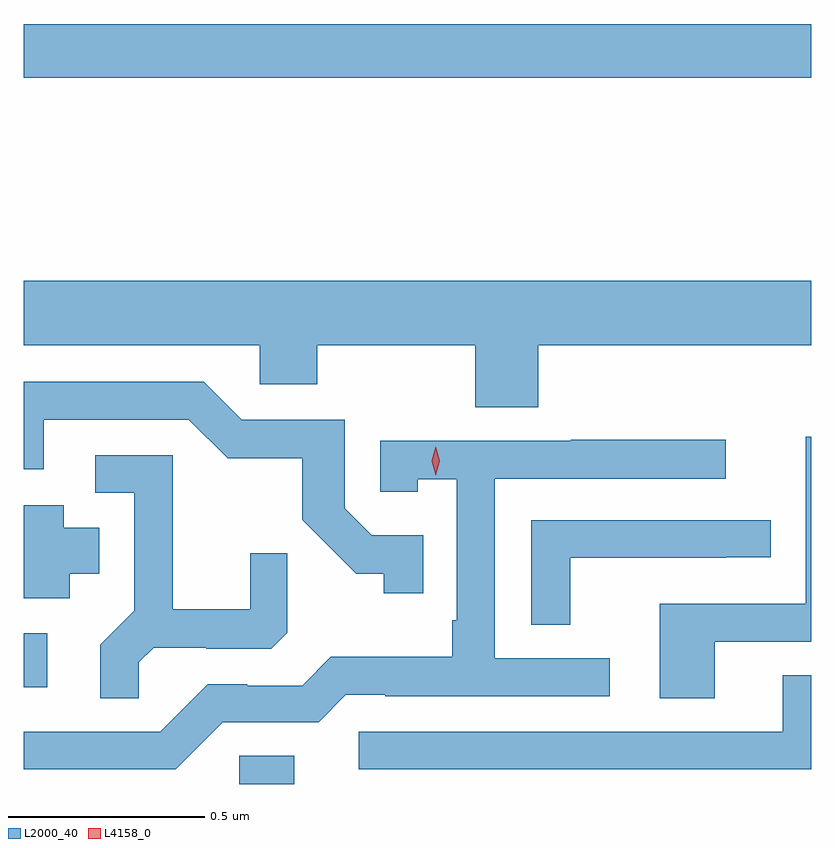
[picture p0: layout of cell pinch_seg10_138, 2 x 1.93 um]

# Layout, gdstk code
import gdstk
lib = gdstk.Library(unit=1e-6, precision=1e-09)
def R(c, l, rs):  # rectangles x0, y0, x1, y1
    for r in rs: c.add(gdstk.rectangle(r[:2], r[2:], *l))
def P(c, l, *ps):  # polygons
    for p in ps: c.add(gdstk.Polygon(p, *l))
L2000_40 = (2000, 40)
L4158_0 = (4158, 0)

pinch_seg10_138 = lib.new_cell('pinch_seg10_138')
R(pinch_seg10_138, L2000_40, [(706.968,1273.895,707.107,1273.967), (706.42,1274.141,706.48,1274.277), (706.42,1275.688,708.42,1275.824)])
P(pinch_seg10_138, L2000_40, [(706.42,1275.008),(707.019,1275.008),(707.019,1274.91),(707.166,1274.91),(707.166,1275.008),(707.566,1275.008),(707.566,1274.851),(707.726,1274.851),(707.726,1275.008),(708.42,1275.008),(708.42,1275.172),(706.42,1275.172)],
  [(707.435,1274.526),(707.304,1274.526),(707.235,1274.595),(707.235,1274.82),(706.974,1274.82),(706.878,1274.916),(706.42,1274.916),(706.42,1274.694),(706.471,1274.694),(706.471,1274.82),(706.839,1274.82),(706.938,1274.722),(707.127,1274.722),(707.127,1274.566),(707.264,1274.429),(707.334,1274.429),(707.334,1274.379),(707.435,1274.379)],
  [(708.175,1274.256),(708.42,1274.256),(708.42,1274.776),(708.405,1274.776),(708.405,1274.352),(708.035,1274.352),(708.035,1274.113),(708.175,1274.113)],
  [(706.926,1274.052),(707.169,1274.052),(707.238,1274.121),(707.338,1274.121),(707.338,1274.118),(707.908,1274.118),(707.908,1274.214),(707.616,1274.214),(707.616,1274.67),(708.202,1274.67),(708.202,1274.769),(707.809,1274.769),(707.809,1274.766),(707.325,1274.766),(707.325,1274.637),(707.421,1274.637),(707.421,1274.669),(707.52,1274.669),(707.52,1274.311),(707.508,1274.311),(707.508,1274.218),(707.2,1274.218),(707.127,1274.145),(706.988,1274.145),(706.988,1274.148),(706.887,1274.148),(706.767,1274.028),(706.42,1274.028),(706.42,1273.932),(706.806,1273.932)],
  [(706.713,1274.204),(706.75,1274.241),(706.884,1274.241),(706.884,1274.238),(707.049,1274.238),(707.09,1274.279),(707.09,1274.481),(706.996,1274.481),(706.996,1274.338),(706.799,1274.338),(706.799,1274.73),(706.602,1274.73),(706.602,1274.634),(706.701,1274.634),(706.701,1274.335),(706.615,1274.249),(706.615,1274.113),(706.713,1274.113)],
  [(706.537,1274.429),(706.612,1274.429),(706.612,1274.545),(706.522,1274.545),(706.522,1274.602),(706.42,1274.602),(706.42,1274.366),(706.537,1274.366)],
  [(707.808,1274.469),(708.203,1274.469),(708.203,1274.47),(708.316,1274.47),(708.316,1274.565),(707.709,1274.565),(707.709,1274.299),(707.808,1274.299)],
  [(708.42,1274.171),(708.347,1274.171),(708.347,1274.028),(707.271,1274.028),(707.271,1273.932),(708.42,1273.932)])
P(pinch_seg10_138, L4158_0, [(707.466,1274.679),(707.466,1274.679),(707.456,1274.715),(707.466,1274.751),(707.466,1274.751),(707.466,1274.751),(707.476,1274.715),(707.466,1274.679)])

lib.write_gds('pinch_seg10_138.gds')
